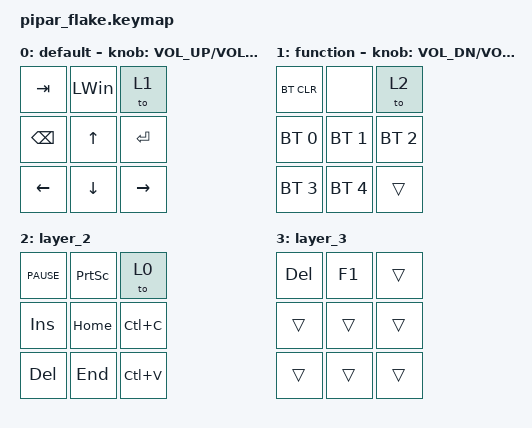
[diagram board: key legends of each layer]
/*
 * Copyright (c) 2022 The ZMK Contributors
 *
 * SPDX-License-Identifier: MIT
 */

#include <behaviors.dtsi>
#include <dt-bindings/zmk/bt.h>
#include <dt-bindings/zmk/keys.h>

#define BASE        0
#define FUNC        1

/ {
    sensors: sensors {
        compatible = "zmk,keymap-sensors";
        sensors = <&encoder_1>;
        triggers-per-rotation = <24>;
    };

    keymap {
        compatible = "zmk,keymap";

        default_layer {
            // ---------------------------//
            // | Q    | W     | ENCODER | //
            // | A    | S     | D       | //
            // | Z    | X     | FN      | //

            display-name = "default";
            bindings = <
&kp TAB         &kp LEFT_WIN    &to 1
&kp BACKSPACE   &kp UP_ARROW    &kp ENTER
&kp LEFT_ARROW  &kp DOWN_ARROW  &kp RIGHT_ARROW
            >;

            sensor-bindings = <&inc_dec_kp C_VOLUME_UP C_VOLUME_DOWN>;
        };

        function_layer {
            // --------------------------- //
            // | BT_CLR | none | ENCODER | //
            // | BT_0   | BT_1 | BT_2    | //
            // | BT_3   | BT_4 | trans   | //

            display-name = "function";
            bindings = <
&bt BT_CLR    &none         &to 2
&bt BT_SEL 0  &bt BT_SEL 1  &bt BT_SEL 2
&bt BT_SEL 3  &bt BT_SEL 4  &trans
            >;

            sensor-bindings = <&inc_dec_kp C_VOL_DN C_VOL_UP>;
        };

        layer_2 {
            bindings = <
&kp C_PAUSE  &kp PRINTSCREEN  &to 0
&kp INS      &kp HOME         &kp LC(C)
&kp DELETE   &kp END          &kp LC(V)
            >;
        };

        layer_3 {
            bindings = <
&kp DEL  &kp F1  &trans
&trans   &trans  &trans
&trans   &trans  &trans
            >;
        };
    };
};
